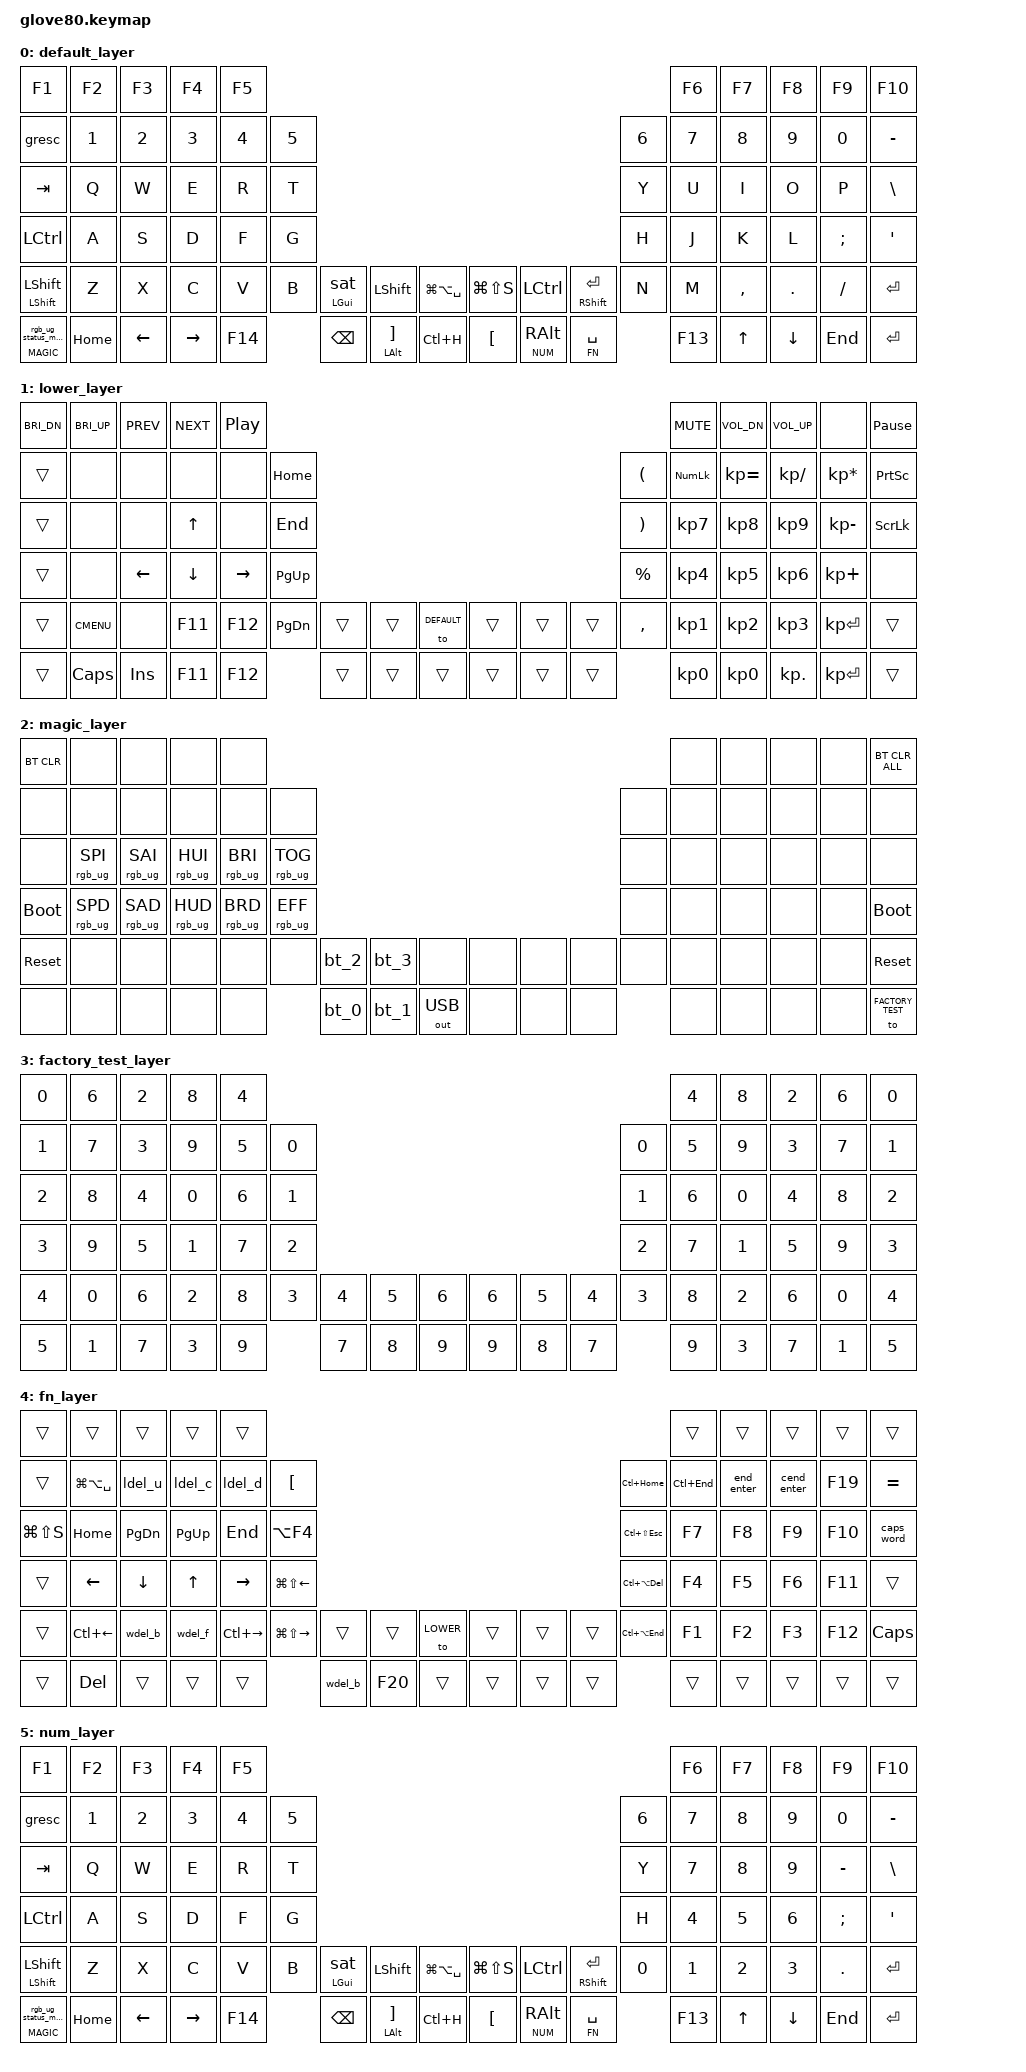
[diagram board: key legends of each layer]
/*
 * Glove80 PACS keymap v2 — DESKTOP-432SS3L (집, 온라인 PACS)
 * 2026-09-05.  기준 문서: pacs-dashboard/docs/IRIS_CE_LAYOUT.md
 * Native SAT behavior dependency: zmk-extra/sat-window-cycle (wired in config/default.nix).
 *
 * ⚠️ 아직 플래시하지 않았다. 현행 파일은 glove80_pacs.keymap 이고 이 파일은 후보다.
 *    비교 후 교체할 것.
 *
 * v1 대비 변경 8건 — 병원 Iris CE 와 편의 순위를 일치시키기 위한 정합
 *  1. 외곽열 정렬 : row2 '=' → gresc(Esc) / row4 ESC → LCTRL
 *                   row5 GRAVE → sticky LShift / 오른쪽 row5 PG_UP → RSHFT
 *  2. 엄지 재배치 : 편의 순위대로 (아래 표)
 *  3. 물리 LGUI 제거 → 왼엄지 Super Alt-Tab 키의 hold 가 담당
 *  4. 최하단 외곽행 : magic·Home·End·←·→·↑·↓ 만 유지, [ ] PgDn 3키 제거(엄지/레이어와 중복)
 *  5. pacs_layer 폐지 — 거의 쓰지 않았고, Alt/Ctrl 조합은 전부 물리 모디파이어로 된다
 *  6. nav_layer → 통합 레이어(FN) 로 교체 : 왼손 이동+편집 / 오른손 F키 전부
 *  7. Grave Escape 도입 — AHK 의 `+Esc::Send("~")` 대체(2026-09-05 폐기)
 *  8. LOWER 진입 경로 이전 : 구 nav+T3 → FN + 왼엄지 안쪽
 *
 *  엄지 편의 순위 (Iris CE 와 동일한 동사·hold)
 *    1위 아랫줄 바깥(rest) : BSpc            /  Space
 *    왼 Enter              : Enter hold=LAlt
 *    왼 F14                : 순수 F14 tap
 *    오른엄지 FN 자리      : Space hold=FN
 *    오른엄지 보조 Shift 자리: Enter tap / RShift hold
 *    왼쪽 아래 안쪽 엄지   : Mic hold=Ctrl+H (release releases)
 *
 * ⚠️ F14=Alt+F(normal 확인). BASE index 71 is Mic: a physical press
 *    holds Ctrl+H and release releases; it is a direct key, not a tap
 *    macro or mod-tap. FN F19 remains on its existing numeric-row binding.
 */

#include <behaviors.dtsi>
#include <dt-bindings/zmk/keys.h>
#include <dt-bindings/zmk/bt.h>
#include <dt-bindings/zmk/ext_power.h>
#include <dt-bindings/zmk/outputs.h>
#include <dt-bindings/zmk/rgb.h>

#define HYPER LC(LS(LG(LALT)))

/* 2026-09-19 user-approved Glove80 final BASE layout (flattened LAYOUT indices):
 *   row-4 thumb upper: 52=SAT/Win (&sat_ht), 53=pure LShift,
 *                       54=Command Palette (Win+Alt+Space);
 *                       55=Screenshot (Win+Shift+S), 56=pure LCtrl,
 *                       57=Enter tap/RShift hold.
 *   row-5 left body 64..68: MAGIC, Home, Left, Right, F14;
 *   row-5 left thumb 69..71: BSpc, ] tap/LAlt hold, Mic hold Ctrl+H;
 *   row-5 right thumb 72..74: LBKT, RAlt tap / NUM hold (Han/AltGr), Space tap/FN hold;
 *   row-5 right body 75..79: F13, Up, Down, End, Enter.
 * F13 is a pure BASE key; index 71 is a direct Mic Ctrl+H key whose release
 * releases the chord; FN F19 remains unchanged on its numeric-row binding.
 * Moved positions keep transparent FN bindings, except index 54's intentional
 * &to LOWER entry. SAT reverse ignores old sticky Shift 46, pure LShift 53,
 * and Enter/RShift 57.
 */

// layers
#define DEFAULT 0
#define LOWER 1
#define MAGIC 2
#define FACTORY_TEST 3
#define FN 4
#define NUM 5

/ {
    behaviors {
        layer_td: tap_dance_0 {
            compatible = "zmk,behavior-tap-dance";
            label = "LAYER_TAP_DANCE";
            #binding-cells = <0>;
            tapping-term-ms = <200>;
            bindings = <&mo LOWER>, <&to LOWER>;
        };

        magic: magic_hold_tap {
            compatible = "zmk,behavior-hold-tap";
            label = "MAGIC_HOLD_TAP";
            #binding-cells = <2>;
            flavor = "tap-preferred";
            tapping-term-ms = <200>;
            bindings = <&mo>, <&rgb_ug_status_macro>;
        };

        // 모디파이어 hold + Enter tap / RShift hold (F13은 BASE에서 순수 키)
        // balanced: hold 중 다른 키가 눌렸다 떼지면 hold 판정 → 빠른 Ctrl+C / Alt+Tab 롤 보호.
        // quick-tap 0: F13 은 확정 키라 연타하지 않는다(2026-09-05 사용자 확인).
        //              자동반복을 끄면 hold 판정이 안정된다. cine 은 셔틀링이 담당.
        vht: verb_hold_tap {
            compatible = "zmk,behavior-hold-tap";
            label = "VERB_HOLD_TAP";
            #binding-cells = <2>;
            flavor = "balanced";
            tapping-term-ms = <180>;
            quick-tap-ms = <0>;
            bindings = <&kp>, <&kp>;
        };

        // Enter tap + Alt hold. Enter 뒤 즉시 문자가 이어지는 경우가 드물어
        // 고빈도 Space/Backspace보다 dual-role 부담이 작다.
        eht: enter_alt_hold_tap {
            compatible = "zmk,behavior-hold-tap";
            label = "ENTER_ALT_HOLD_TAP";
            #binding-cells = <2>;
            flavor = "balanced";
            tapping-term-ms = <200>;
            quick-tap-ms = <0>;
            bindings = <&kp>, <&kp>;
        };

        // Win hold + native Super Alt-Tab tap.
        // The behavior owns Alt, refreshes its 1000ms window on each tap, and
        // cancels before another physical key is dispatched. Shift positions
        // are ignored by the behavior so Shift+SAT sends reverse Alt+Tab.
        sat_ht: super_alt_tab_hold_tap {
            compatible = "zmk,behavior-hold-tap";
            label = "SUPER_ALT_TAB_HOLD_TAP";
            #binding-cells = <2>;
            flavor = "hold-preferred";
            tapping-term-ms = <280>;
            quick-tap-ms = <0>;
            bindings = <&kp>, <&sat>;
        };

        sat: super_alt_tab_window_cycle {
            compatible = "zmk,behavior-sat-window-cycle";
            label = "SUPER_ALT_TAB_WINDOW_CYCLE";
            #binding-cells = <0>;
            timeout-ms = <1000>;
            // Keep every physical Shift path ignored so Shift+SAT reverses:
            // old sticky Shift 46, pure left Shift 53, and Enter/RShift 57.
            // Non-Shift keys still cancel/release SAT when they are dispatched.
            ignored-key-positions = <46 53 57>;
            bindings = <&kp LALT>, <&kp TAB>;
        };

        // Shift hold + Sticky Shift tap (왼쪽 외곽열 row5)
        sht: sticky_shift_tap {
            compatible = "zmk,behavior-hold-tap";
            label = "STICKY_SHIFT_TAP";
            #binding-cells = <2>;
            flavor = "balanced";
            tapping-term-ms = <200>;
            quick-tap-ms = <175>;
            bindings = <&kp>, <&sk>;
        };

        // 레이어 hold + 키 tap (Space → FN층)
        // tap-preferred: Space tap 직후 빠른 타이핑이 레이어로 오발동하지 않도록.
        // quick-tap 0: 빠른 재입력 시 tap 강제 구간을 두지 않음(QMK와 동일 설정값).
        plt: pacs_layer_tap {
            compatible = "zmk,behavior-hold-tap";
            label = "PACS_LAYER_TAP";
            #binding-cells = <2>;
            flavor = "tap-preferred";
            tapping-term-ms = <220>;
            quick-tap-ms = <0>;
            bindings = <&mo>, <&kp>;
        };

        // Han tap + NUM hold (오른엄지 rank-2). tap-preferred 220ms, quick-tap 0.
        num_ht: num_hold_tap {
            compatible = "zmk,behavior-hold-tap";
            label = "NUM_HOLD_TAP";
            #binding-cells = <2>;
            flavor = "tap-preferred";
            tapping-term-ms = <220>;
            quick-tap-ms = <0>;
            bindings = <&mo>, <&kp>;
        };

        // Grave Escape : Esc / Shift+Esc = ~ / Win+Esc = `
        gresc: grave_escape {
            compatible = "zmk,behavior-mod-morph";
            label = "GRAVE_ESCAPE";
            #binding-cells = <0>;
            bindings = <&kp ESC>, <&kp GRAVE>;
            mods = <(MOD_LGUI|MOD_RGUI|MOD_LSFT|MOD_RSFT)>;
            keep-mods = <(MOD_LSFT|MOD_RSFT)>;
        };
    };

    macros {
        copy_once: copy_once {
            label = "COPY_ONCE";
            compatible = "zmk,behavior-macro";
            #binding-cells = <0>;
            wait-ms = <0>;
            tap-ms = <10>;
            bindings = <&macro_press &kp LCTRL>
                     , <&macro_tap &kp C>
                     , <&macro_release &kp LCTRL>;
        };

        paste_once: paste_once {
            label = "PASTE_ONCE";
            compatible = "zmk,behavior-macro";
            #binding-cells = <0>;
            wait-ms = <0>;
            tap-ms = <10>;
            bindings = <&macro_press &kp LCTRL>
                     , <&macro_tap &kp V>
                     , <&macro_release &kp LCTRL>;
        };

        cut_once: cut_once {
            label = "CUT_ONCE";
            compatible = "zmk,behavior-macro";
            #binding-cells = <0>;
            wait-ms = <0>;
            tap-ms = <10>;
            bindings = <&macro_press &kp LCTRL>
                     , <&macro_tap &kp X>
                     , <&macro_release &kp LCTRL>;
        };

        end_enter: end_enter {      // End → Enter
            label = "END_ENTER";
            compatible = "zmk,behavior-macro";
            #binding-cells = <0>;
            wait-ms = <12>;
            tap-ms = <8>;
            bindings = <&macro_tap &kp END>
                     , <&macro_tap &kp RET>;
        };

        cend_enter: cend_enter {    // Ctrl+End → Enter
            label = "CEND_ENTER";
            compatible = "zmk,behavior-macro";
            #binding-cells = <0>;
            wait-ms = <12>;
            tap-ms = <8>;
            bindings = <&macro_press &kp LCTRL>
                     , <&macro_tap &kp END>
                     , <&macro_release &kp LCTRL>
                     , <&macro_tap &kp RET>;
        };

        rgb_ug_status_macro: rgb_ug_status_macro_0 {
            label = "RGB_UG_STATUS";
            compatible = "zmk,behavior-macro";
            #binding-cells = <0>;
            bindings = <&rgb_ug RGB_STATUS>;
        };

        /* ── 편집 매크로 ───────────────────────────────────────────────
         * 날 Ctrl+Backspace 를 쓰지 않는 이유: PACS 리포트 필드는 표준 Win32 Edit 이라
         * 제어문자(^H)를 삽입할 수 있다. 선택 후 Delete 로 우회한다.
         * ⚠️ 워드랩이 켜져 있으면 ↑/↓ 가 논리 줄이 아니라 화면 줄로 움직인다.
         */
        wdel_b: wdel_b {            // 앞단어 삭제 : Ctrl+Shift+← → Del
            label = "WDEL_B";
            compatible = "zmk,behavior-macro";
            #binding-cells = <0>;
            wait-ms = <12>;
            tap-ms = <8>;
            bindings = <&macro_press &kp LCTRL &kp LSHFT>
                     , <&macro_tap &kp LEFT>
                     , <&macro_release &kp LCTRL &kp LSHFT>
                     , <&macro_tap &kp DEL>;
        };

        wdel_f: wdel_f {            // 뒤단어 삭제 : Ctrl+Shift+→ → Del
            label = "WDEL_F";
            compatible = "zmk,behavior-macro";
            #binding-cells = <0>;
            wait-ms = <12>;
            tap-ms = <8>;
            bindings = <&macro_press &kp LCTRL &kp LSHFT>
                     , <&macro_tap &kp RIGHT>
                     , <&macro_release &kp LCTRL &kp LSHFT>
                     , <&macro_tap &kp DEL>;
        };

        ldel_c: ldel_c {            // 현재행 삭제 : Home → Shift+End → Del
            label = "LDEL_C";
            compatible = "zmk,behavior-macro";
            #binding-cells = <0>;
            wait-ms = <12>;
            tap-ms = <8>;
            bindings = <&macro_tap &kp HOME>
                     , <&macro_press &kp LSHFT>
                     , <&macro_tap &kp END>
                     , <&macro_release &kp LSHFT>
                     , <&macro_tap &kp DEL>;
        };

        ldel_u: ldel_u {            // 윗행 삭제 : Home → Shift+↑ → Del
            label = "LDEL_U";
            compatible = "zmk,behavior-macro";
            #binding-cells = <0>;
            wait-ms = <12>;
            tap-ms = <8>;
            bindings = <&macro_tap &kp HOME>
                     , <&macro_press &kp LSHFT>
                     , <&macro_tap &kp UP>
                     , <&macro_release &kp LSHFT>
                     , <&macro_tap &kp DEL>;
        };

        ldel_d: ldel_d {            // 아랫행 삭제 : End → Shift+↓ → Shift+End → Del
            label = "LDEL_D";       //   Shift 를 놓지 않고 두 번 확장해야 선택이 유지된다
            compatible = "zmk,behavior-macro";
            #binding-cells = <0>;
            wait-ms = <12>;
            tap-ms = <8>;
            bindings = <&macro_tap &kp END>
                     , <&macro_press &kp LSHFT>
                     , <&macro_tap &kp DOWN>
                     , <&macro_tap &kp END>
                     , <&macro_release &kp LSHFT>
                     , <&macro_tap &kp DEL>;
        };

        bt_0: bt_profile_macro_0 {
            label = "BT_0";
            compatible = "zmk,behavior-macro";
            #binding-cells = <0>;
            bindings = <&out OUT_BLE>, <&bt BT_SEL 0>;
        };
        bt_1: bt_profile_macro_1 {
            label = "BT_1";
            compatible = "zmk,behavior-macro";
            #binding-cells = <0>;
            bindings = <&out OUT_BLE>, <&bt BT_SEL 1>;
        };
        bt_2: bt_profile_macro_2 {
            label = "BT_2";
            compatible = "zmk,behavior-macro";
            #binding-cells = <0>;
            bindings = <&out OUT_BLE>, <&bt BT_SEL 2>;
        };
        bt_3: bt_profile_macro_3 {
            label = "BT_3";
            compatible = "zmk,behavior-macro";
            #binding-cells = <0>;
            bindings = <&out OUT_BLE>, <&bt BT_SEL 3>;
        };
    };

    combos {
        compatible = "zmk,combos";

        // Clipboard chords on DEFAULT: X+C copy, C+V paste, Z+X cut.
        // Keep the 40ms chord window and 120ms prior-idle guard aligned with Iris.
        combo_copy_xc {
            timeout-ms = <40>;
            require-prior-idle-ms = <120>;
            key-positions = <48 49>;
            layers = <DEFAULT>;
            bindings = <&copy_once>;
        };

        combo_paste_cv {
            timeout-ms = <40>;
            require-prior-idle-ms = <120>;
            key-positions = <49 50>;
            layers = <DEFAULT>;
            bindings = <&paste_once>;
        };

        combo_cut_zx {
            timeout-ms = <40>;
            require-prior-idle-ms = <120>;
            key-positions = <47 48>;
            layers = <DEFAULT>;
            bindings = <&cut_once>;
        };
    };

    keymap {
        compatible = "zmk,keymap";

        /* ── DEFAULT ──────────────────────────────────────────────────
         * 외곽열 4행이 Iris CE 와 동일 :  Esc / Tab / Ctrl / Shift
         *                                  -   /  \  /  quote  /  Enter
         * 최하단 외곽행은 magic·Home·←·→·F14 / F13·↑·↓·End·Enter
         */
        default_layer {
            bindings = <
            &kp F1         &kp F2    &kp F3    &kp F4     &kp F5                                                                                                &kp F6   &kp F7   &kp F8     &kp F9    &kp F10
            &gresc         &kp N1    &kp N2    &kp N3     &kp N4    &kp N5                                                                              &kp N6   &kp N7   &kp N8   &kp N9     &kp N0    &kp MINUS
            &kp TAB        &kp Q     &kp W     &kp E      &kp R     &kp T                                                                               &kp Y    &kp U    &kp I    &kp O      &kp P     &kp BSLH
            &kp LCTRL      &kp A     &kp S     &kp D      &kp F     &kp G                                                                               &kp H    &kp J    &kp K    &kp L      &kp SEMI  &kp SQT
            &sht LSHFT LSHFT &kp Z   &kp X     &kp C      &kp V     &kp B   &sat_ht LGUI 0  &kp LSHFT  &kp LG(LA(SPACE))    &kp LG(LS(S))    &kp LCTRL    &vht RSHFT RET   &kp N    &kp M    &kp COMMA &kp DOT   &kp FSLH  &kp RET
            &magic MAGIC 0 &kp HOME  &kp LEFT   &kp RIGHT  &kp F14             &kp BSPC        &eht LALT RBKT &kp LC(H) &kp LBKT    &num_ht NUM RALT &plt FN SPACE    &kp F13   &kp UP   &kp DOWN  &kp END   &kp RET
            >;
        };


        /* ── LOWER (FN + 왼엄지 안쪽으로 진입, 내부 &to DEFAULT 로 복귀) ──
         * 미디어·넘패드·PrintScreen·Insert·Menu 등. 실사용 근거는 없으나 보존한다.
         */
        lower_layer {
            bindings = <
            &kp C_BRI_DN   &kp C_BRI_UP  &kp C_PREV   &kp C_NEXT  &kp C_PP                                                                                       &kp C_MUTE  &kp C_VOL_DN &kp C_VOL_UP &none          &kp PAUSE_BREAK
            &trans         &none         &none        &none       &none       &kp HOME                                                                &kp LPAR   &kp KP_NUM  &kp KP_EQUAL &kp KP_DIVIDE &kp KP_MULTIPLY &kp PSCRN
            &trans         &none         &none        &kp UP      &none       &kp END                                                                 &kp RPAR   &kp KP_N7   &kp KP_N8    &kp KP_N9     &kp KP_MINUS   &kp SLCK
            &trans         &none         &kp LEFT     &kp DOWN    &kp RIGHT   &kp PG_UP                                                               &kp PRCNT  &kp KP_N4   &kp KP_N5    &kp KP_N6     &kp KP_PLUS    &none
            &trans         &kp K_CMENU   &none        &kp F11     &kp F12     &kp PG_DN   &trans  &trans  &to DEFAULT   &trans  &trans  &trans        &kp COMMA  &kp KP_N1   &kp KP_N2    &kp KP_N3     &kp KP_ENTER   &trans
            &trans         &kp CAPS      &kp INS      &kp F11     &kp F12                 &trans  &trans  &trans        &trans  &trans  &trans                   &kp KP_N0   &kp KP_N0    &kp KP_DOT    &kp KP_ENTER   &trans
            >;
        };

        magic_layer {
            bindings = <
            &bt BT_CLR     &none            &none            &none            &none                                                                              &none   &none   &none   &none   &bt BT_CLR_ALL
            &none          &none            &none            &none            &none            &none                                                    &none   &none   &none   &none   &none   &none
            &none          &rgb_ug RGB_SPI  &rgb_ug RGB_SAI  &rgb_ug RGB_HUI  &rgb_ug RGB_BRI  &rgb_ug RGB_TOG                                          &none   &none   &none   &none   &none   &none
            &bootloader    &rgb_ug RGB_SPD  &rgb_ug RGB_SAD  &rgb_ug RGB_HUD  &rgb_ug RGB_BRD  &rgb_ug RGB_EFF                                          &none   &none   &none   &none   &none   &bootloader
            &sys_reset     &none            &none            &none            &none            &none    &bt_2  &bt_3  &none        &none  &none  &none   &none   &none   &none   &none   &none   &sys_reset
            &none          &none            &none            &none            &none                     &bt_0  &bt_1  &out OUT_USB &none  &none  &none           &none   &none   &none   &none   &to FACTORY_TEST
            >;
        };

        factory_test_layer {
            bindings = <
            &kp N0   &kp N6   &kp N2   &kp N8   &kp N4                                                                              &kp N4   &kp N8   &kp N2   &kp N6   &kp N0
            &kp N1   &kp N7   &kp N3   &kp N9   &kp N5   &kp N0                                                            &kp N0   &kp N5   &kp N9   &kp N3   &kp N7   &kp N1
            &kp N2   &kp N8   &kp N4   &kp N0   &kp N6   &kp N1                                                            &kp N1   &kp N6   &kp N0   &kp N4   &kp N8   &kp N2
            &kp N3   &kp N9   &kp N5   &kp N1   &kp N7   &kp N2                                                            &kp N2   &kp N7   &kp N1   &kp N5   &kp N9   &kp N3
            &kp N4   &kp N0   &kp N6   &kp N2   &kp N8   &kp N3   &kp N4   &kp N5   &kp N6      &kp N6   &kp N5   &kp N4   &kp N3   &kp N8   &kp N2   &kp N6   &kp N0   &kp N4
            &kp N5   &kp N1   &kp N7   &kp N3   &kp N9            &kp N7   &kp N8   &kp N9      &kp N9   &kp N8   &kp N7            &kp N9   &kp N3   &kp N7   &kp N1   &kp N5
            >;
        };

        /* ── FN (오른엄지 Space hold) — 통합 레이어 (NUM은 별도) ─────
         * 왼손  숫자행 2 3 4 = 윗행/현재행/아랫행 삭제   ← 행 단위
         *       Q W E R      = Home PgDn PgUp End       ← 줄/페이지
         *       A S D F      = ←  ↓  ↑  →               ← 문자 (ASDF 배열)
         *       Z X C V      = C+← 앞단어 뒤단어 C+→     ← 단어
         *       G = Win+Shift+←, B = Win+Shift+→, Enter = CapsLock, 왼엄지 안쪽 = &to LOWER
         *       Tab = Screenshot (Win+Shift+S)
         * 오른손 숫자행 = 6=Ctrl+Home 7=Ctrl+End 8=End→Enter 9=Ctrl+End→Enter 0=F19, '-' = '='
         * 오른손 F키 = NUM 넘패드와 같은 방향:
         *       U I O P = F7 F8 F9 F10; J K L ; = F4 F5 F6 F11; M , . / = F1 F2 F3 F12; \ = Caps Word
         * 시스템키: 1=Command Palette, Y=Task Manager, H=로컬 보안 화면, N=RDP 보안 화면
         */
        fn_layer {
            bindings = <
            &trans         &trans    &trans    &trans     &trans                                                                                                &trans   &trans   &trans     &trans    &trans
            &trans         &kp LG(LA(SPACE))    &ldel_u   &ldel_c    &ldel_d   &kp LBKT                                                                              &kp LC(HOME)  &kp LC(END)  &end_enter  &cend_enter    &kp F19   &kp EQUAL
            &kp LG(LS(S))  &kp HOME &kp PG_DN &kp PG_UP &kp END &kp LA(F4)                                                                             &kp LC(LS(ESC))   &kp F7   &kp F8   &kp F9     &kp F10    &caps_word
            &trans         &kp LEFT &kp DOWN &kp UP &kp RIGHT &kp LG(LS(LEFT))                                                                           &kp LC(LA(DEL))   &kp F4   &kp F5   &kp F6     &kp F11    &trans
            &trans         &kp LC(LEFT) &wdel_b &wdel_f &kp LC(RIGHT) &kp LG(LS(RIGHT)) &trans      &trans     &to LOWER    &trans   &trans    &trans          &kp LC(LA(END))   &kp F1   &kp F2   &kp F3     &kp F12    &kp CAPS
            &trans         &kp DEL   &trans    &trans     &trans            &wdel_b     &kp F20     &trans       &trans   &trans    &trans          &trans   &trans   &trans     &trans    &trans
            >;
        };

        /* ── NUM (오른엄지 Han/RAlt hold) ─────────────────────────────
         * 오른손 넘패드: U I O = 7 8 9, J K L = 4 5 6, M , . = 1 2 3,
         * N = 0, / = '.', P = '-'.
         * 나머지 칸은 DEFAULT 바인딩을 명시 복사해 FN+NUM 동시 눌림에서도
         * FN 삭제/부팅/확인 단축키가 새지 않게 한다. Han/Space 트리거 유지.
         */
        num_layer {
            bindings = <
            &kp F1         &kp F2    &kp F3    &kp F4     &kp F5                                                                                                &kp F6   &kp F7   &kp F8     &kp F9    &kp F10
            &gresc         &kp N1    &kp N2    &kp N3     &kp N4    &kp N5                                                                              &kp N6   &kp N7   &kp N8   &kp N9     &kp N0    &kp MINUS
            &kp TAB        &kp Q     &kp W     &kp E      &kp R     &kp T                                                                               &kp Y    &kp N7   &kp N8   &kp N9     &kp MINUS &kp BSLH
            &kp LCTRL      &kp A     &kp S     &kp D      &kp F     &kp G                                                                               &kp H    &kp N4   &kp N5   &kp N6     &kp SEMI  &kp SQT
            &sht LSHFT LSHFT &kp Z   &kp X     &kp C      &kp V     &kp B   &sat_ht LGUI 0  &kp LSHFT  &kp LG(LA(SPACE))    &kp LG(LS(S))    &kp LCTRL    &vht RSHFT RET   &kp N0   &kp N1   &kp N2   &kp N3    &kp DOT   &kp RET
            &magic MAGIC 0 &kp HOME  &kp LEFT   &kp RIGHT  &kp F14             &kp BSPC        &eht LALT RBKT &kp LC(H) &kp LBKT    &num_ht NUM RALT &plt FN SPACE    &kp F13   &kp UP   &kp DOWN  &kp END   &kp RET
            >;
        };
    };
};
